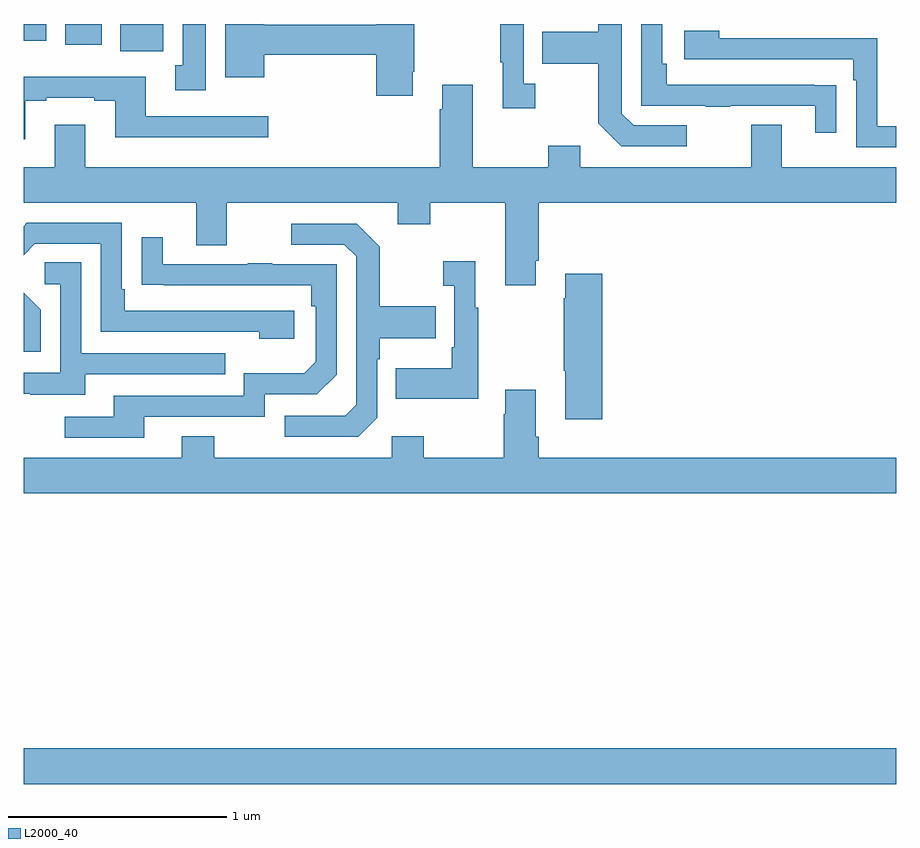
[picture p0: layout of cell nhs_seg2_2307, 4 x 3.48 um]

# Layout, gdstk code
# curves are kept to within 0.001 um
import gdstk
lib = gdstk.Library(unit=1e-6, precision=1e-09)
def R(c, l, rs):  # rectangles x0, y0, x1, y1
    for r in rs: c.add(gdstk.rectangle(r[:2], r[2:], *l))
def P(c, l, *ps):  # polygons
    for p in ps: c.add(gdstk.Polygon(p, *l))
L2000_40 = (2000, 40)

nhs_seg2_2307 = lib.new_cell('nhs_seg2_2307')
R(nhs_seg2_2307, L2000_40, [(231,634.316,235,634.48), (231.443,637.676,231.64,637.8), (231.191,637.704,231.358,637.8), (231,637.724,231.103,637.8)])
P(nhs_seg2_2307, L2000_40, [(232.783,637.582),(232.791,637.582),(232.791,637.8),(232.616,637.8),(232.616,637.796),(232.102,637.796),(232.102,637.8),(231.923,637.8),(231.923,637.556),(232.102,637.556),(232.102,637.66),(232.616,637.66),(232.616,637.47),(232.783,637.47)],
  [(234.725,637.52),(234.623,637.52),(234.623,637.521),(233.948,637.521),(233.948,637.618),(233.928,637.618),(233.928,637.8),(233.832,637.8),(233.832,637.425),(234.127,637.425),(234.127,637.42),(234.239,637.42),(234.239,637.425),(234.629,637.425),(234.629,637.302),(234.725,637.302)],
  [(233.344,637.526),(233.292,637.526),(233.292,637.8),(233.184,637.8),(233.184,637.625),(233.195,637.625),(233.195,637.413),(233.344,637.413)],
  [(231.835,637.8),(231.728,637.8),(231.728,637.61),(231.695,637.61),(231.695,637.497),(231.835,637.497)],
  [(234.04,637.335),(233.796,637.335),(233.742,637.389),(233.742,637.8),(233.634,637.8),(233.634,637.765),(233.377,637.765),(233.377,637.618),(233.634,637.618),(233.634,637.345),(233.739,637.239),(234.04,637.239)],
  [(235,637.332),(234.912,637.332),(234.912,637.734),(234.188,637.734),(234.188,637.768),(234.027,637.768),(234.027,637.638),(234.803,637.638),(234.803,637.541),(234.816,637.541),(234.816,637.236),(235,637.236)],
  [(231.007,637.449),(231.103,637.449),(231.103,637.461),(231.323,637.461),(231.323,637.449),(231.419,637.449),(231.419,637.28),(232.12,637.28),(232.12,637.377),(231.559,637.377),(231.559,637.558),(231,637.558),(231,637.272),(231.007,637.272)],
  [(233.347,636.715),(233.36,636.715),(233.36,636.98),(235,636.98),(235,637.144),(234.475,637.144),(234.475,637.339),(234.335,637.339),(234.335,637.144),(233.551,637.144),(233.551,637.243),(233.404,637.243),(233.404,637.144),(233.059,637.144),(233.059,637.522),(232.919,637.522),(232.919,637.409),(232.907,637.409),(232.907,637.144),(231.283,637.144),(231.283,637.339),(231.143,637.339),(231.143,637.144),(231,637.144),(231,636.98),(231.791,636.98),(231.791,636.786),(231.931,636.786),(231.931,636.98),(232.715,636.98),(232.715,636.881),(232.863,636.881),(232.863,636.98),(233.207,636.98),(233.207,636.603),(233.347,636.603)],
  [(232.24,636.486),(231.463,636.486),(231.463,636.583),(231.45,636.583),(231.45,636.888),(231.015,636.888),(231,636.873),(231,636.741),(231.051,636.792),(231.354,636.792),(231.354,636.39),(232.079,636.39),(232.079,636.356),(232.24,636.356)],
  [(232.62,635.994),(232.62,636.263),(232.633,636.263),(232.633,636.359),(232.889,636.359),(232.889,636.507),(232.633,636.507),(232.633,636.779),(232.527,636.885),(232.227,636.885),(232.227,636.789),(232.47,636.789),(232.524,636.735),(232.524,636.054),(232.473,636.003),(232.197,636.003),(232.197,635.907),(232.533,635.907)],
  [(231.553,636),(232.104,636),(232.104,636.102),(232.344,636.102),(232.434,636.192),(232.434,636.699),(232.139,636.699),(232.139,636.704),(232.027,636.704),(232.027,636.699),(231.637,636.699),(231.637,636.823),(231.541,636.823),(231.541,636.604),(232.318,636.603),(232.318,636.506),(232.338,636.506),(232.338,636.252),(232.285,636.199),(232.008,636.199),(232.008,636.096),(231.413,636.096),(231.413,636),(231.189,636),(231.189,635.904),(231.553,635.904)],
  [(233.083,636.499),(233.071,636.499),(233.071,636.712),(232.923,636.712),(232.923,636.599),(232.974,636.599),(232.974,636.319),(232.962,636.319),(232.962,636.223),(232.705,636.223),(232.705,636.083),(233.083,636.083)],
  [(231.283,636.195),(231.923,636.195),(231.923,636.291),(231.264,636.291),(231.264,636.707),(231.096,636.707),(231.096,636.606),(231.168,636.606),(231.168,636.201),(231,636.201),(231,636.105),(231.029,636.105),(231.029,636.101),(231.283,636.101)],
  [(233.651,636.655),(233.483,636.655),(233.483,636.542),(233.476,636.542),(233.476,636.211),(233.483,636.211),(233.483,635.988),(233.651,635.988)],
  [(231.078,636.49),(231,636.568),(231,636.297),(231.078,636.297)],
  [(235,635.812),(233.36,635.812),(233.36,635.908),(233.347,635.908),(233.347,636.124),(233.207,636.124),(233.207,636.011),(233.2,636.011),(233.2,635.812),(232.833,635.812),(232.833,635.911),(232.686,635.911),(232.686,635.812),(231.873,635.812),(231.873,635.911),(231.725,635.911),(231.725,635.812),(231,635.812),(231,635.648),(235,635.648)])

lib.write_gds('nhs_seg2_2307.gds')
